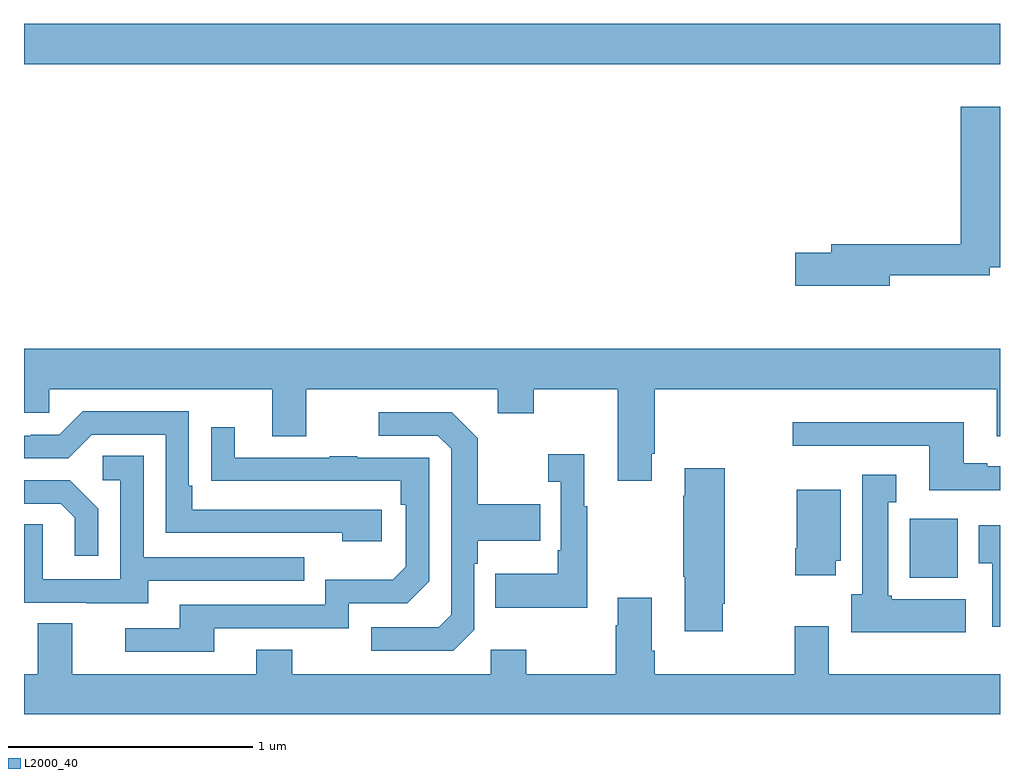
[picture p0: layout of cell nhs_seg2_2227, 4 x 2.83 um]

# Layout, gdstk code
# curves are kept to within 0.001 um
import gdstk
lib = gdstk.Library(unit=1e-6, precision=1e-09)
def R(c, l, rs):  # rectangles x0, y0, x1, y1
    for r in rs: c.add(gdstk.rectangle(r[:2], r[2:], *l))
def P(c, l, *ps):  # polygons
    for p in ps: c.add(gdstk.Polygon(p, *l))
L2000_40 = (2000, 40)

nhs_seg2_2227 = lib.new_cell('nhs_seg2_2227')
R(nhs_seg2_2227, L2000_40, [(230.63,630.878,230.827,631.12), (227,632.984,231,633.148)])
P(nhs_seg2_2227, L2000_40, [(230.548,632.118),(230.958,632.118),(230.958,632.15),(231,632.15),(231,632.809),(230.84,632.809),(230.84,632.246),(230.309,632.246),(230.309,632.21),(230.16,632.21),(230.16,632.075),(230.548,632.075)],
  [(229.573,631.387),(229.586,631.387),(229.586,631.652),(230.987,631.652),(230.987,631.458),(231,631.458),(231,631.816),(227,631.816),(227,631.554),(227.103,631.554),(227.103,631.652),(228.017,631.652),(228.017,631.458),(228.157,631.458),(228.157,631.652),(228.941,631.652),(228.941,631.553),(229.089,631.553),(229.089,631.652),(229.433,631.652),(229.433,631.275),(229.573,631.275)],
  [(228.466,631.158),(227.689,631.158),(227.689,631.255),(227.676,631.255),(227.676,631.56),(227.241,631.56),(227.145,631.464),(227.027,631.464),(227.027,631.461),(227,631.461),(227,631.368),(227.181,631.368),(227.277,631.464),(227.58,631.464),(227.58,631.062),(228.305,631.062),(228.305,631.028),(228.466,631.028)],
  [(228.846,630.666),(228.846,630.935),(228.859,630.935),(228.859,631.031),(229.115,631.031),(229.115,631.179),(228.859,631.179),(228.859,631.451),(228.753,631.557),(228.453,631.557),(228.453,631.461),(228.696,631.461),(228.75,631.407),(228.75,630.726),(228.699,630.675),(228.423,630.675),(228.423,630.579),(228.759,630.579)],
  [(231,631.335),(230.947,631.335),(230.947,631.348),(230.851,631.348),(230.851,631.516),(230.151,631.516),(230.151,631.419),(230.711,631.419),(230.711,631.238),(231,631.238)],
  [(227.779,630.672),(228.33,630.672),(228.33,630.774),(228.57,630.774),(228.66,630.864),(228.66,631.371),(228.365,631.371),(228.365,631.376),(228.253,631.376),(228.253,631.371),(227.863,631.371),(227.863,631.495),(227.767,631.495),(227.767,631.276),(228.544,631.275),(228.544,631.178),(228.564,631.178),(228.564,630.924),(228.511,630.871),(228.234,630.871),(228.234,630.768),(227.639,630.768),(227.639,630.672),(227.415,630.672),(227.415,630.576),(227.779,630.576)],
  [(229.309,631.171),(229.297,631.171),(229.297,631.384),(229.149,631.384),(229.149,631.271),(229.2,631.271),(229.2,630.991),(229.188,630.991),(229.188,630.895),(228.931,630.895),(228.931,630.755),(229.309,630.755)],
  [(227.509,630.867),(228.149,630.867),(228.149,630.963),(227.49,630.963),(227.49,631.379),(227.322,631.379),(227.322,631.278),(227.394,631.278),(227.394,630.873),(227.076,630.873),(227.076,631.097),(227,631.097),(227,630.777),(227.255,630.777),(227.255,630.773),(227.509,630.773)],
  [(229.864,630.772),(229.872,630.772),(229.872,631.327),(229.709,631.327),(229.709,631.214),(229.702,631.214),(229.702,630.883),(229.709,630.883),(229.709,630.66),(229.864,630.66)],
  [(230.86,630.79),(230.556,630.79),(230.556,630.804),(230.542,630.804),(230.542,631.187),(230.575,631.187),(230.575,631.3),(230.435,631.3),(230.435,630.81),(230.39,630.81),(230.39,630.656),(230.86,630.656)],
  [(227.304,631.162),(227.188,631.278),(227,631.278),(227,631.182),(227.15,631.182),(227.207,631.125),(227.207,630.969),(227.304,630.969)],
  [(230.326,630.948),(230.347,630.948),(230.347,631.24),(230.168,631.24),(230.168,631),(230.161,631),(230.161,630.888),(230.326,630.888)],
  [(231,631.093),(230.912,631.093),(230.912,630.937),(230.969,630.937),(230.969,630.678),(231,630.678)],
  [(231,630.484),(230.299,630.484),(230.299,630.679),(230.159,630.679),(230.159,630.484),(229.586,630.484),(229.586,630.58),(229.573,630.58),(229.573,630.796),(229.433,630.796),(229.433,630.683),(229.426,630.683),(229.426,630.484),(229.059,630.484),(229.059,630.583),(228.912,630.583),(228.912,630.484),(228.099,630.484),(228.099,630.583),(227.951,630.583),(227.951,630.484),(227.197,630.484),(227.197,630.692),(227.057,630.692),(227.057,630.484),(227,630.484),(227,630.32),(231,630.32)])

lib.write_gds('nhs_seg2_2227.gds')
